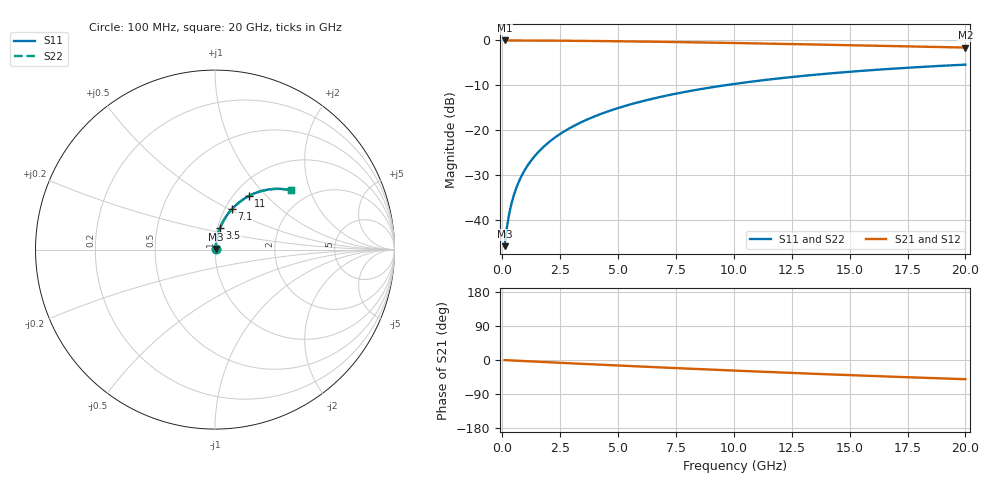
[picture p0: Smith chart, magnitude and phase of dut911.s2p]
! Touchstone file exported from HFSS 2026.1.0
!  File:  C:/ffzhzh/LocalFiles/Ansys_Project_Files/temp_train_TMRDL_911_1783157989_55132.aedt
!  Generated:  05:41:16 PM Jul  4, 2026
!  Design:  TMRDL
!  Project:  temp_train_TMRDL_911_1783157989_55132
! Variables:
!  h_bsmrdl = 2um
!  h_ox = 20um
!  h_rdl = 5um
!  h_sub = 80um
!  h_tmrdl = 5.85um
!  h_tsv = 80um
!  h_via = 3um
!  l_bsmrdl = 300um
!  l_sub = 1113.11um
!  l_tmrdl = 713.11um
!  m_sub = 200um
!  pitch = 52.17um
!  r_tsv = 6um
!  s_tmrdl = 10um
!  w_bsmrdl = 18um
!  w_sub = 500um
!  w_tmrdl = 12.6um
!  x_tsv_center1 = 719.41um
!  x_tsv_center2 = 1037.41um
!  x_tsv_center3 = 1763.12um
!  x_tsv_center4 = 2081.12um
!  x_tsv_center5 = 2806.83um
!  x_tsv_center6 = 3124.83um
# GHz S MA R 50.000000
! Terminal data exported
! Port[1] = TM_RDL1_1_T1
! Port[2] = TM_RDL1_1_T2
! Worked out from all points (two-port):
!   200 points, 100 MHz to 20 GHz, reference 50 ohm
!   highest |S21| = -0.03 dB at 100 MHz (marker M1); lowest = -1.6 dB at 20 GHz (marker M2)
!   |S21| within 3 dB of the highest: start of sweep to end of sweep
!   lowest |S11| = -45.8 dB at 100 MHz (marker M3), VSWR 1.01, Z = 50.3 + j0.381 ohm
!   |S11| at or under -10 dB: start of sweep to 9.613 GHz
!   |S22| runs from -45.8 to -5.4 dB; largest |S21 - S12| = 2.7e-15
!   S11 on the Smith chart (normalised r, x): 100 MHz: 1.01, +0.01; 3.5 GHz: 1.03, +0.26; 7.1 GHz: 1.08, +0.51; 11 GHz: 1.17, +0.80; 20 GHz: 1.61, +1.49
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0.1  0.005139 47.4  0.9965 -0.3  0.9965 -0.3  0.005139 47.4
! Gamma 0 0 0 0
! Port Impedance 50 0 50 0
0.2  0.008349 64.3  0.9964 -0.6  0.9964 -0.6  0.008349 64.3
0.3  0.01185 71.3  0.9963 -0.9  0.9963 -0.9  0.01185 71.3
0.4  0.01542 74.8  0.9962 -1.2  0.9962 -1.2  0.01542 74.8
0.5  0.01902 77.0  0.996 -1.5  0.996 -1.5  0.01902 77.0
0.7  0.02625 79.3  0.9957 -2.1  0.9957 -2.1  0.02625 79.3
1  0.03713 80.7  0.9952 -3.0  0.9952 -3.0  0.03713 80.6
1.4  0.05163 81.0  0.9943 -4.2  0.9943 -4.2  0.05163 81.0
1.7  0.06247 80.7  0.9934 -5.1  0.9934 -5.1  0.06247 80.7
2  0.07324 80.2  0.9925 -5.9  0.9925 -5.9  0.07324 80.2
2.7  0.09811 78.8  0.9896 -8.0  0.9896 -8.0  0.09811 78.8
3.5  0.126 76.8  0.9857 -10.3  0.9857 -10.3  0.126 76.8
4.2  0.1498 75.0  0.9816 -12.3  0.9816 -12.3  0.1498 75.0
5  0.1765 72.9  0.9764 -14.5  0.9764 -14.5  0.1765 72.9
6.8  0.2339 68.2  0.9629 -19.5  0.9629 -19.5  0.2339 68.2
7.1  0.2431 67.4  0.9605 -20.3  0.9605 -20.3  0.2431 67.4
8.5  0.2848 63.9  0.9482 -24.0  0.9482 -24.0  0.2848 63.9
10.1  0.3295 59.9  0.933 -28.2  0.933 -28.2  0.3295 59.9
11  0.3533 57.7  0.924 -30.4  0.924 -30.4  0.3533 57.7
13.4  0.4118 52.1  0.8991 -36.3  0.8991 -36.3  0.4118 52.1
16.7  0.4806 44.8  0.8643 -43.7  0.8643 -43.7  0.4806 44.7
20  0.5367 38.0  0.831 -50.7  0.831 -50.7  0.5367 38.0
